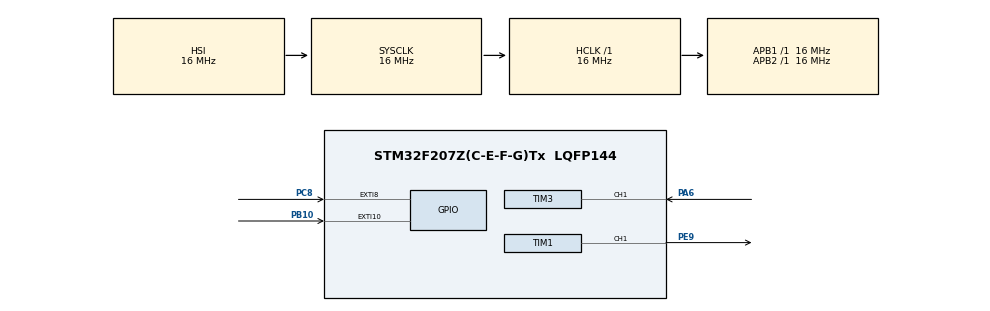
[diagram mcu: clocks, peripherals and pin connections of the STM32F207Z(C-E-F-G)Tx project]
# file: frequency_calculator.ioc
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Mcu.Family=STM32F2
Mcu.Name=STM32F207Z(C-E-F-G)Tx
Mcu.Package=LQFP144
NVIC.EXTI15_10_IRQn=true\:0\:0\:false\:false\:true\:true\:true\:true
NVIC.EXTI9_5_IRQn=true\:0\:0\:false\:false\:true\:true\:true\:true
NVIC.PriorityGroup=NVIC_PRIORITYGROUP_4
NVIC.TIM1_BRK_TIM9_IRQn=true\:0\:0\:false\:false\:true\:true\:true\:true
NVIC.TIM1_CC_IRQn=true\:0\:0\:false\:false\:true\:true\:true\:true
NVIC.TIM1_TRG_COM_TIM11_IRQn=true\:0\:0\:false\:false\:true\:true\:true\:true
NVIC.TIM1_UP_TIM10_IRQn=true\:0\:0\:false\:false\:true\:true\:true\:true
NVIC.TIM3_IRQn=true\:0\:0\:false\:false\:true\:true\:true\:true
PA6.Signal=S_TIM3_CH1
PB10.GPIO_ModeDefaultEXTI=GPIO_MODE_IT_FALLING
PB10.GPIO_PuPd=GPIO_PULLDOWN
PB10.Signal=GPXTI10
PC8.GPIO_ModeDefaultEXTI=GPIO_MODE_IT_FALLING
PC8.GPIO_PuPd=GPIO_PULLDOWN
PC8.Signal=GPXTI8
PC9.Signal=S_TIM3_CH4
PE11.Signal=S_TIM1_CH2
PE9.Signal=S_TIM1_CH1
ProjectManager.HeapSize=0x200
ProjectManager.StackSize=0x400
ProjectManager.TargetToolchain=STM32CubeIDE
RCC.48MHZClocksFreq_Value=48000000
RCC.AHBFreq_Value=16000000
RCC.APB1Freq_Value=16000000
RCC.APB2Freq_Value=16000000
RCC.CortexFreq_Value=16000000
RCC.HSE_VALUE=25000000
RCC.HSI_VALUE=16000000
RCC.LSE_VALUE=32768
RCC.SYSCLKFreq_VALUE=16000000
RCC.VCOOutputFreq_Value=192000000
SH.S_TIM1_CH1.0=TIM1_CH1,PWM Generation1 CH1
SH.S_TIM1_CH2.0=TIM1_CH2
SH.S_TIM3_CH1.0=TIM3_CH1,PWM_Input_1
SH.S_TIM3_CH4.0=TIM3_CH4
TIM1.Channel-PWM\ Generation1\ CH1=TIM_CHANNEL_1
TIM1.Period=2000 - 1
TIM1.Prescaler=1600 - 1
TIM1.TIM_MasterOutputTrigger=TIM_TRGO_UPDATE
TIM3.AutoReloadPreload=TIM_AUTORELOAD_PRELOAD_DISABLE
TIM3.Period=2000 - 1
TIM3.Prescaler=1600 - 1
TIM3.TIM_MasterOutputTrigger=TIM_TRGO_UPDATE
VP_TIM1_VS_ClockSourceINT.Mode=Internal
VP_TIM3_VS_ClockSourceINT.Mode=Internal
board=custom

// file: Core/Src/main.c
/* USER CODE BEGIN Header */
/**
  ******************************************************************************
  * @file           : main.c
  * @brief          : Main program body
  ******************************************************************************
  * @attention
  *
  * Copyright (c) 2023 STMicroelectronics.
  * All rights reserved.
  *
  * This software is licensed under terms that can be found in the LICENSE file
  * in the root directory of this software component.
  * If no LICENSE file comes with this software, it is provided AS-IS.
  *
  ******************************************************************************
  */
/* USER CODE END Header */
#include "main.h"

TIM_HandleTypeDef htim1;
TIM_HandleTypeDef htim3;

/* USER CODE BEGIN PV */
float duty;
static float x;
float frequency;
float frequency2;
float duty_cycle;
static float y;
float prev;
float time = 0;
uint32_t risingEdgeTime = 0;
uint32_t fallingEdgeTime = 0;
float duty;
uint32_t pulseWidth;
uint32_t rise = 0;
uint32_t fall = 0;
uint32_t diff = 0;
/* USER CODE END PV */

void SystemClock_Config(void);
static void MX_GPIO_Init(void);
static void MX_TIM3_Init(void);
static void MX_TIM1_Init(void);

/* USER CODE BEGIN 0 */

void HAL_TIM_IC_CaptureCallback(TIM_HandleTypeDef *htim)
{
	if (htim->Instance == TIM3)
	{
		risingEdgeTime = HAL_TIM_ReadCapturedValue(htim, TIM_CHANNEL_1);
		fallingEdgeTime = HAL_TIM_ReadCapturedValue(htim, TIM_CHANNEL_2);
		frequency2 = (float) 10000 / (risingEdgeTime + 1);
		duty = (float) 100 * fallingEdgeTime / risingEdgeTime;
	}
}

void HAL_GPIO_EXTI_Callback(uint16_t GPIO_Pin)
{
	x = TIM1->ARR;
	prev = TIM1->ARR;
	y = TIM1->CCR1;
	if (GPIO_Pin == GPIO_PIN_8)
	{
		if (x >= 250)
		{
			x = x - 250;
			TIM1->ARR = (int)x;
			TIM1->CCR1 =((x * y) / prev);
			y = TIM1->CCR1;
			duty_cycle =(int)((y / x) * 100);
		}
		else
		{
			TIM1->ARR = 2000 - 1;
			TIM1->CCR1 = (1999 * y) / x;
		}
	}
	if (GPIO_Pin == GPIO_PIN_10)
	{
		if (y + 100 <= x + 1)
		{
			y += 100;
			TIM1->CCR1 = y;
			duty_cycle =(int)((y / x) * 100);
		}
		else
		{
			TIM1->CCR1 = x / 10;
		}
	}
	  frequency =(int) 10000 / x;
	  HAL_TIM_PWM_Start(&htim1, TIM_CHANNEL_1);
}

/* USER CODE END 0 */

int main(void)
{

  /* MCU Configuration--------------------------------------------------------*/

  /* Reset of all peripherals, Initializes the Flash interface and the Systick. */
  HAL_Init();

  /* Configure the system clock */
  SystemClock_Config();

  /* Initialize all configured peripherals */
  MX_GPIO_Init();
  MX_TIM3_Init();
  MX_TIM1_Init();
  /* USER CODE BEGIN 2 */

  TIM1->CCR1 = 200;
  HAL_TIM_PWM_Start(&htim1, TIM_CHANNEL_1);
   HAL_TIM_IC_Start_IT(&htim3, TIM_CHANNEL_1);
   HAL_TIM_IC_Start(&htim3, TIM_CHANNEL_2);

	x = TIM1->ARR;
	prev = TIM1->ARR;
	y = TIM1->CCR1;
	frequency =(int) 10000 / x;
	duty_cycle =(int)((y / x) * 100);
  /* USER CODE END 2 */

  /* Infinite loop */
  while (1)
  {

  }
}

void SystemClock_Config(void)
{
  RCC_OscInitTypeDef RCC_OscInitStruct = {0};
  RCC_ClkInitTypeDef RCC_ClkInitStruct = {0};

  /** Initializes the RCC Oscillators according to the specified parameters
  * in the RCC_OscInitTypeDef structure.
  */
  RCC_OscInitStruct.OscillatorType = RCC_OSCILLATORTYPE_HSI;
  RCC_OscInitStruct.HSIState = RCC_HSI_ON;
  RCC_OscInitStruct.HSICalibrationValue = RCC_HSICALIBRATION_DEFAULT;
  RCC_OscInitStruct.PLL.PLLState = RCC_PLL_NONE;
  if (HAL_RCC_OscConfig(&RCC_OscInitStruct) != HAL_OK)
  {
    Error_Handler();
  }

  /** Initializes the CPU, AHB and APB buses clocks
  */
  RCC_ClkInitStruct.ClockType = RCC_CLOCKTYPE_HCLK|RCC_CLOCKTYPE_SYSCLK
                              |RCC_CLOCKTYPE_PCLK1|RCC_CLOCKTYPE_PCLK2;
  RCC_ClkInitStruct.SYSCLKSource = RCC_SYSCLKSOURCE_HSI;
  RCC_ClkInitStruct.AHBCLKDivider = RCC_SYSCLK_DIV1;
  RCC_ClkInitStruct.APB1CLKDivider = RCC_HCLK_DIV1;
  RCC_ClkInitStruct.APB2CLKDivider = RCC_HCLK_DIV1;

  if (HAL_RCC_ClockConfig(&RCC_ClkInitStruct, FLASH_LATENCY_0) != HAL_OK)
  {
    Error_Handler();
  }
}

static void MX_TIM1_Init(void)
{

  TIM_ClockConfigTypeDef sClockSourceConfig = {0};
  TIM_MasterConfigTypeDef sMasterConfig = {0};
  TIM_OC_InitTypeDef sConfigOC = {0};
  TIM_BreakDeadTimeConfigTypeDef sBreakDeadTimeConfig = {0};

  htim1.Instance = TIM1;
  htim1.Init.Prescaler = 1600 - 1;
  htim1.Init.CounterMode = TIM_COUNTERMODE_UP;
  htim1.Init.Period = 2000 - 1;
  htim1.Init.ClockDivision = TIM_CLOCKDIVISION_DIV1;
  htim1.Init.RepetitionCounter = 0;
  htim1.Init.AutoReloadPreload = TIM_AUTORELOAD_PRELOAD_DISABLE;
  if (HAL_TIM_Base_Init(&htim1) != HAL_OK)
  {
    Error_Handler();
  }
  sClockSourceConfig.ClockSource = TIM_CLOCKSOURCE_INTERNAL;
  if (HAL_TIM_ConfigClockSource(&htim1, &sClockSourceConfig) != HAL_OK)
  {
    Error_Handler();
  }
  if (HAL_TIM_PWM_Init(&htim1) != HAL_OK)
  {
    Error_Handler();
  }
  sMasterConfig.MasterOutputTrigger = TIM_TRGO_UPDATE;
  sMasterConfig.MasterSlaveMode = TIM_MASTERSLAVEMODE_DISABLE;
  if (HAL_TIMEx_MasterConfigSynchronization(&htim1, &sMasterConfig) != HAL_OK)
  {
    Error_Handler();
  }
  sConfigOC.OCMode = TIM_OCMODE_PWM1;
  sConfigOC.Pulse = 0;
  sConfigOC.OCPolarity = TIM_OCPOLARITY_HIGH;
  sConfigOC.OCNPolarity = TIM_OCNPOLARITY_HIGH;
  sConfigOC.OCFastMode = TIM_OCFAST_DISABLE;
  sConfigOC.OCIdleState = TIM_OCIDLESTATE_RESET;
  sConfigOC.OCNIdleState = TIM_OCNIDLESTATE_RESET;
  if (HAL_TIM_PWM_ConfigChannel(&htim1, &sConfigOC, TIM_CHANNEL_1) != HAL_OK)
  {
    Error_Handler();
  }
  sBreakDeadTimeConfig.OffStateRunMode = TIM_OSSR_DISABLE;
  sBreakDeadTimeConfig.OffStateIDLEMode = TIM_OSSI_DISABLE;
  sBreakDeadTimeConfig.LockLevel = TIM_LOCKLEVEL_OFF;
  sBreakDeadTimeConfig.DeadTime = 0;
  sBreakDeadTimeConfig.BreakState = TIM_BREAK_DISABLE;
  sBreakDeadTimeConfig.BreakPolarity = TIM_BREAKPOLARITY_HIGH;
  sBreakDeadTimeConfig.AutomaticOutput = TIM_AUTOMATICOUTPUT_DISABLE;
  if (HAL_TIMEx_ConfigBreakDeadTime(&htim1, &sBreakDeadTimeConfig) != HAL_OK)
  {
    Error_Handler();
  }
  HAL_TIM_MspPostInit(&htim1);

}

static void MX_TIM3_Init(void)
{

  TIM_ClockConfigTypeDef sClockSourceConfig = {0};
  TIM_SlaveConfigTypeDef sSlaveConfig = {0};
  TIM_IC_InitTypeDef sConfigIC = {0};
  TIM_MasterConfigTypeDef sMasterConfig = {0};

  htim3.Instance = TIM3;
  htim3.Init.Prescaler = 1600 - 1;
  htim3.Init.CounterMode = TIM_COUNTERMODE_UP;
  htim3.Init.Period = 2000 - 1;
  htim3.Init.ClockDivision = TIM_CLOCKDIVISION_DIV1;
  htim3.Init.AutoReloadPreload = TIM_AUTORELOAD_PRELOAD_DISABLE;
  if (HAL_TIM_Base_Init(&htim3) != HAL_OK)
  {
    Error_Handler();
  }
  sClockSourceConfig.ClockSource = TIM_CLOCKSOURCE_INTERNAL;
  if (HAL_TIM_ConfigClockSource(&htim3, &sClockSourceConfig) != HAL_OK)
  {
    Error_Handler();
  }
  if (HAL_TIM_IC_Init(&htim3) != HAL_OK)
  {
    Error_Handler();
  }
  sSlaveConfig.SlaveMode = TIM_SLAVEMODE_RESET;
  sSlaveConfig.InputTrigger = TIM_TS_TI1FP1;
  sSlaveConfig.TriggerPolarity = TIM_INPUTCHANNELPOLARITY_RISING;
  sSlaveConfig.TriggerPrescaler = TIM_ICPSC_DIV1;
  sSlaveConfig.TriggerFilter = 0;
  if (HAL_TIM_SlaveConfigSynchro(&htim3, &sSlaveConfig) != HAL_OK)
  {
    Error_Handler();
  }
  sConfigIC.ICPolarity = TIM_INPUTCHANNELPOLARITY_RISING;
  sConfigIC.ICSelection = TIM_ICSELECTION_DIRECTTI;
  sConfigIC.ICPrescaler = TIM_ICPSC_DIV1;
  sConfigIC.ICFilter = 0;
  if (HAL_TIM_IC_ConfigChannel(&htim3, &sConfigIC, TIM_CHANNEL_1) != HAL_OK)
  {
    Error_Handler();
  }
  sConfigIC.ICPolarity = TIM_INPUTCHANNELPOLARITY_FALLING;
  sConfigIC.ICSelection = TIM_ICSELECTION_INDIRECTTI;
  if (HAL_TIM_IC_ConfigChannel(&htim3, &sConfigIC, TIM_CHANNEL_2) != HAL_OK)
  {
    Error_Handler();
  }
  sMasterConfig.MasterOutputTrigger = TIM_TRGO_UPDATE;
  sMasterConfig.MasterSlaveMode = TIM_MASTERSLAVEMODE_DISABLE;
  if (HAL_TIMEx_MasterConfigSynchronization(&htim3, &sMasterConfig) != HAL_OK)
  {
    Error_Handler();
  }

}

static void MX_GPIO_Init(void)
{
  GPIO_InitTypeDef GPIO_InitStruct = {0};

  /* GPIO Ports Clock Enable */
  __HAL_RCC_GPIOA_CLK_ENABLE();
  __HAL_RCC_GPIOE_CLK_ENABLE();
  __HAL_RCC_GPIOB_CLK_ENABLE();
  __HAL_RCC_GPIOC_CLK_ENABLE();

  /*Configure GPIO pin : PB10 */
  GPIO_InitStruct.Pin = GPIO_PIN_10;
  GPIO_InitStruct.Mode = GPIO_MODE_IT_FALLING;
  GPIO_InitStruct.Pull = GPIO_PULLDOWN;
  HAL_GPIO_Init(GPIOB, &GPIO_InitStruct);

  /*Configure GPIO pin : PC8 */
  GPIO_InitStruct.Pin = GPIO_PIN_8;
  GPIO_InitStruct.Mode = GPIO_MODE_IT_FALLING;
  GPIO_InitStruct.Pull = GPIO_PULLDOWN;
  HAL_GPIO_Init(GPIOC, &GPIO_InitStruct);

  /* EXTI interrupt init*/
  HAL_NVIC_SetPriority(EXTI9_5_IRQn, 0, 0);
  HAL_NVIC_EnableIRQ(EXTI9_5_IRQn);

  HAL_NVIC_SetPriority(EXTI15_10_IRQn, 0, 0);
  HAL_NVIC_EnableIRQ(EXTI15_10_IRQn);

}

void Error_Handler(void)
{
  __disable_irq();
  while (1)
  {
  }
}
